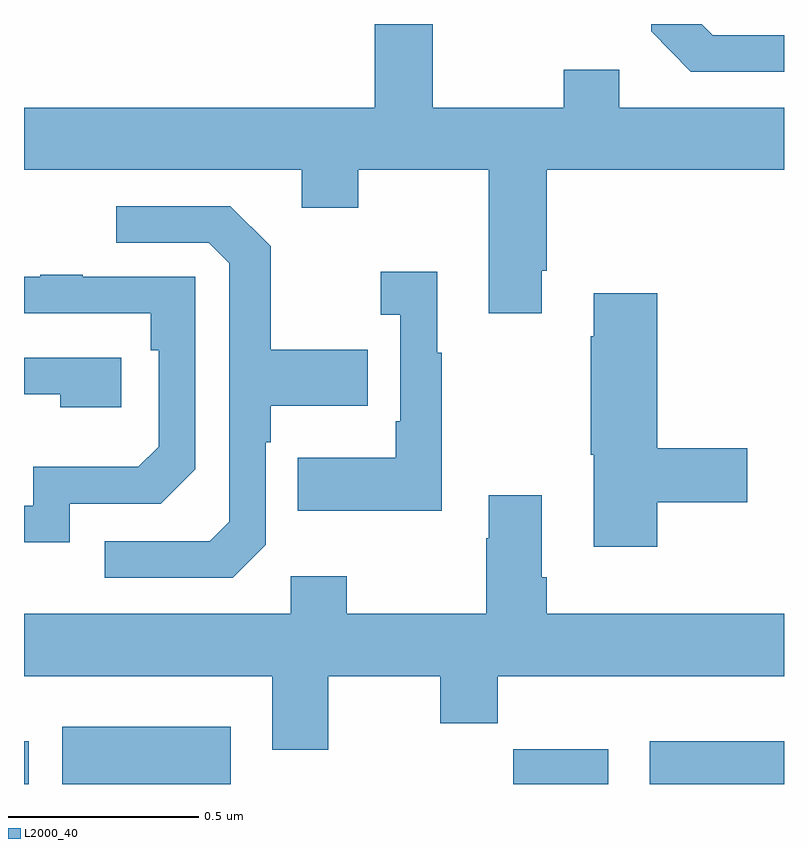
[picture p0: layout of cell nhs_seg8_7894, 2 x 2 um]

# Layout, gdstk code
import gdstk
lib = gdstk.Library(unit=1e-6, precision=1e-09)
def R(c, l, rs):  # rectangles x0, y0, x1, y1
    for r in rs: c.add(gdstk.rectangle(r[:2], r[2:], *l))
def P(c, l, *ps):  # polygons
    for p in ps: c.add(gdstk.Polygon(p, *l))
L2000_40 = (2000, 40)

nhs_seg8_7894 = lib.new_cell('nhs_seg8_7894')
R(nhs_seg8_7894, L2000_40, [(216,1098.9,216.013,1099.012), (216.101,1098.9,216.544,1099.051), (217.288,1098.9,217.537,1098.991), (217.647,1098.9,218,1099.012)])
P(nhs_seg8_7894, L2000_40, [(217.363,1100.251),(217.376,1100.251),(217.376,1100.516),(218,1100.516),(218,1100.68),(217.567,1100.68),(217.567,1100.779),(217.42,1100.779),(217.42,1100.68),(217.075,1100.68),(217.075,1100.9),(216.923,1100.9),(216.923,1100.68),(216,1100.68),(216,1100.516),(216.731,1100.516),(216.731,1100.417),(216.879,1100.417),(216.879,1100.516),(217.223,1100.516),(217.223,1100.139),(217.363,1100.139)],
  [(218,1100.871),(217.812,1100.871),(217.783,1100.9),(217.65,1100.9),(217.65,1100.881),(217.755,1100.775),(218,1100.775)],
  [(216.636,1099.53),(216.636,1099.799),(216.649,1099.799),(216.649,1099.895),(216.905,1099.895),(216.905,1100.043),(216.649,1100.043),(216.649,1100.315),(216.543,1100.421),(216.243,1100.421),(216.243,1100.325),(216.486,1100.325),(216.54,1100.271),(216.54,1099.59),(216.489,1099.539),(216.213,1099.539),(216.213,1099.443),(216.549,1099.443)],
  [(217.099,1100.035),(217.087,1100.035),(217.087,1100.248),(216.939,1100.248),(216.939,1100.135),(216.99,1100.135),(216.99,1099.855),(216.978,1099.855),(216.978,1099.759),(216.721,1099.759),(216.721,1099.619),(217.099,1099.619)],
  [(216.12,1099.638),(216.36,1099.638),(216.45,1099.728),(216.45,1100.235),(216.155,1100.235),(216.155,1100.24),(216.043,1100.24),(216.043,1100.235),(216,1100.235),(216,1100.139),(216.334,1100.139),(216.334,1100.042),(216.354,1100.042),(216.354,1099.788),(216.301,1099.735),(216.024,1099.735),(216.024,1099.632),(216,1099.632),(216,1099.536),(216.12,1099.536)],
  [(217.667,1099.642),(217.903,1099.642),(217.903,1099.784),(217.667,1099.784),(217.667,1100.191),(217.499,1100.191),(217.499,1100.078),(217.492,1100.078),(217.492,1099.767),(217.499,1099.767),(217.499,1099.524),(217.667,1099.524)],
  [(216.256,1100.022),(216,1100.022),(216,1099.926),(216.095,1099.926),(216.095,1099.892),(216.256,1099.892)],
  [(217.096,1099.06),(217.247,1099.06),(217.247,1099.184),(218,1099.184),(218,1099.348),(217.376,1099.348),(217.376,1099.444),(217.363,1099.444),(217.363,1099.66),(217.223,1099.66),(217.223,1099.547),(217.216,1099.547),(217.216,1099.348),(216.849,1099.348),(216.849,1099.447),(216.702,1099.447),(216.702,1099.348),(216,1099.348),(216,1099.184),(216.653,1099.184),(216.653,1098.99),(216.801,1098.99),(216.801,1099.184),(217.096,1099.184)])

lib.write_gds('nhs_seg8_7894.gds')
